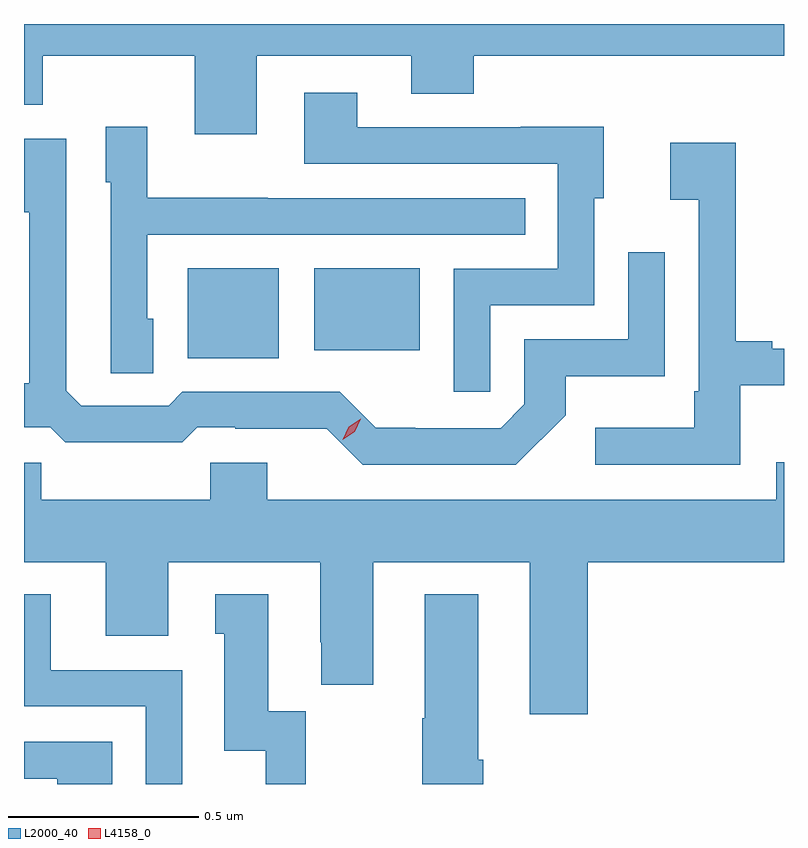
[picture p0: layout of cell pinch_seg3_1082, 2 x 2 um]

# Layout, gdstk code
import gdstk
lib = gdstk.Library(unit=1e-6, precision=1e-09)
def R(c, l, rs):  # rectangles x0, y0, x1, y1
    for r in rs: c.add(gdstk.rectangle(r[:2], r[2:], *l))
def P(c, l, *ps):  # polygons
    for p in ps: c.add(gdstk.Polygon(p, *l))
L2000_40 = (2000, 40)
L4158_0 = (4158, 0)

pinch_seg3_1082 = lib.new_cell('pinch_seg3_1082')
R(pinch_seg3_1082, L2000_40, [(255.227,701.453,255.466,701.689), (255.56,701.474,255.838,701.689)])
P(pinch_seg3_1082, L2000_40, [(255.409,702.248),(255.815,702.248),(255.815,702.149),(255.979,702.149),(255.979,702.248),(256.796,702.248),(256.796,702.332),(254.796,702.332),(254.796,702.12),(254.845,702.12),(254.845,702.248),(255.245,702.248),(255.245,702.042),(255.409,702.042)],
  [(256.023,701.592),(256.296,701.592),(256.296,701.874),(256.321,701.874),(256.321,702.062),(256.103,702.062),(256.103,702.06),(255.673,702.06),(255.673,702.151),(255.533,702.151),(255.533,701.964),(256.2,701.964),(256.2,701.688),(255.927,701.688),(255.927,701.364),(256.023,701.364)],
  [(255.136,701.556),(255.12,701.556),(255.12,701.778),(256.115,701.778),(256.115,701.874),(255.437,701.874),(255.437,701.875),(255.12,701.875),(255.12,702.061),(255.011,702.061),(255.011,701.916),(255.024,701.916),(255.024,701.413),(255.136,701.413)],
  [(256.221,701.303),(256.221,701.405),(256.482,701.405),(256.482,701.731),(256.386,701.731),(256.386,701.502),(256.113,701.502),(256.113,701.331),(256.05,701.268),(255.826,701.268),(255.826,701.27),(255.722,701.27),(255.627,701.364),(255.213,701.364),(255.177,701.328),(254.946,701.328),(254.907,701.367),(254.907,702.03),(254.796,702.03),(254.796,701.837),(254.81,701.837),(254.81,701.387),(254.796,701.387),(254.796,701.271),(254.865,701.271),(254.905,701.232),(255.213,701.232),(255.252,701.271),(255.352,701.271),(255.352,701.267),(255.593,701.267),(255.687,701.172),(256.09,701.172)],
  [(256.681,701.381),(256.796,701.381),(256.796,701.478),(256.765,701.478),(256.765,701.497),(256.669,701.497),(256.669,702.019),(256.497,702.019),(256.497,701.87),(256.572,701.87),(256.572,701.365),(256.56,701.365),(256.56,701.269),(256.299,701.269),(256.299,701.172),(256.681,701.172)],
  [(256.279,700.916),(256.796,700.916),(256.796,701.179),(256.775,701.179),(256.775,701.08),(255.436,701.08),(255.436,701.178),(255.286,701.178),(255.286,701.08),(254.841,701.08),(254.841,701.178),(254.796,701.178),(254.796,700.916),(255.011,700.916),(255.011,700.722),(255.175,700.722),(255.175,700.916),(255.575,700.916),(255.575,700.705),(255.578,700.705),(255.578,700.593),(255.715,700.593),(255.715,700.916),(256.127,700.916),(256.127,700.515),(256.279,700.515)],
  [(256.004,700.396),(255.991,700.396),(255.991,700.831),(255.851,700.831),(255.851,700.505),(255.844,700.505),(255.844,700.332),(256.004,700.332)],
  [(255.537,700.523),(255.439,700.523),(255.439,700.831),(255.299,700.831),(255.299,700.728),(255.323,700.728),(255.323,700.419),(255.432,700.419),(255.432,700.332),(255.537,700.332)],
  [(255.213,700.632),(254.866,700.632),(254.866,700.831),(254.796,700.831),(254.796,700.536),(255.117,700.536),(255.117,700.332),(255.213,700.332)],
  [(255.028,700.443),(254.796,700.443),(254.796,700.346),(254.883,700.346),(254.883,700.332),(255.028,700.332)])
P(pinch_seg3_1082, L4158_0, [(255.635,701.238),(255.635,701.238),(255.651,701.272),(255.682,701.293),(255.682,701.293),(255.682,701.293),(255.666,701.259),(255.635,701.238)])

lib.write_gds('pinch_seg3_1082.gds')
